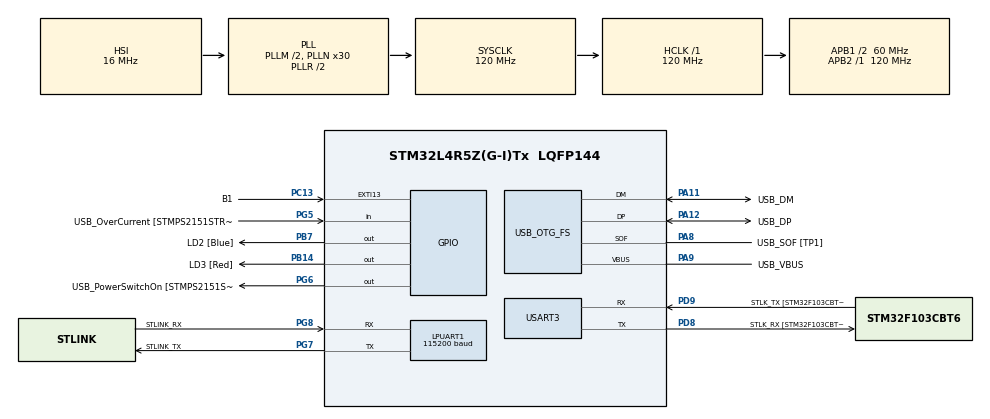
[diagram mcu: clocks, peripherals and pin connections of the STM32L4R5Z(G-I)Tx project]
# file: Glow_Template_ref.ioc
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LPUART1.BaudRate=115200
LPUART1.WordLength=UART_WORDLENGTH_8B
Mcu.Family=STM32L4
Mcu.Name=STM32L4R5Z(G-I)Tx
Mcu.Package=LQFP144
NVIC.PriorityGroup=NVIC_PRIORITYGROUP_4
PA10.GPIO_Label=USB_ID
PA10.Signal=USB_OTG_FS_ID
PA11.GPIO_Label=USB_DM
PA11.Mode=Device_Only
PA11.Signal=USB_OTG_FS_DM
PA12.GPIO_Label=USB_DP
PA12.Mode=Device_Only
PA12.Signal=USB_OTG_FS_DP
PA13\ (JTMS/SWDIO).GPIO_Label=TMS
PA13\ (JTMS/SWDIO).Mode=Trace_Asynchronous_SW
PA13\ (JTMS/SWDIO).Signal=SYS_JTMS-SWDIO
PA14\ (JTCK/SWCLK).GPIO_Label=TCK
PA14\ (JTCK/SWCLK).Mode=Trace_Asynchronous_SW
PA14\ (JTCK/SWCLK).Signal=SYS_JTCK-SWCLK
PA8.GPIO_Label=USB_SOF [TP1]
PA8.Mode=Activate_SOF_FS
PA8.Signal=USB_OTG_FS_SOF
PA9.GPIO_Label=USB_VBUS
PA9.Mode=Activate_VBUS
PA9.Signal=USB_OTG_FS_VBUS
PB14.GPIO_Label=LD3 [Red]
PB14.Signal=GPIO_Output
PB3\ (JTDO/TRACESWO).GPIO_Label=SWO
PB3\ (JTDO/TRACESWO).Mode=Trace_Asynchronous_SW
PB3\ (JTDO/TRACESWO).Signal=SYS_JTDO-SWO
PB7.GPIO_Label=LD2 [Blue]
PB7.Signal=GPIO_Output
PC13.GPIO_Label=B1
PC13.Signal=GPXTI13
PC14-OSC32_IN\ (PC14).Mode=LSE-External-Oscillator
PC14-OSC32_IN\ (PC14).Signal=RCC_OSC32_IN
PC15-OSC32_OUT\ (PC15).Mode=LSE-External-Oscillator
PC15-OSC32_OUT\ (PC15).Signal=RCC_OSC32_OUT
PD8.GPIO_Label=STLK_RX [STM32F103CBT6_PA3]
PD8.Mode=Asynchronous
PD8.Signal=USART3_TX
PD9.GPIO_Label=STLK_TX [STM32F103CBT6_PA2]
PD9.Mode=Asynchronous
PD9.Signal=USART3_RX
PG5.GPIO_Label=USB_OverCurrent [STMPS2151STR_FAULT]
PG5.Signal=GPIO_Input
PG6.GPIO_Label=USB_PowerSwitchOn [STMPS2151STR_EN]
PG6.Signal=GPIO_Output
PG7.GPIO_Label=STLINK_TX
PG7.Mode=Asynchronous
PG7.Signal=LPUART1_TX
PG8.GPIO_Label=STLINK_RX
PG8.Mode=Asynchronous
PG8.Signal=LPUART1_RX
PH0-OSC_IN\ (PH0).Signal=RCC_OSC_IN
PH1-OSC_OUT\ (PH1).Signal=RCC_OSC_OUT
ProjectManager.HeapSize=0x200
ProjectManager.StackSize=0x400
ProjectManager.TargetToolchain=STM32CubeIDE
RCC.48MHZClocksFreq_Value=24000000
RCC.ADCFreq_Value=96000000
RCC.AHBFreq_Value=120000000
RCC.APB1CLKDivider=RCC_HCLK_DIV2
RCC.APB1Freq_Value=60000000
RCC.APB1TimFreq_Value=120000000
RCC.APB2Freq_Value=120000000
RCC.APB2TimFreq_Value=120000000
RCC.CK48CLockSelection=RCC_USBCLKSOURCE_HSI48
RCC.CortexFreq_Value=120000000
RCC.HCLKFreq_Value=120000000
RCC.HSE_VALUE=8000000
RCC.HSI48_VALUE=48000000
RCC.HSI_VALUE=16000000
RCC.MSI_VALUE=4000000
RCC.PLLM1=2
RCC.PLLMUL=RCC_PLL_MUL9
RCC.PLLN=30
RCC.PLLSAI1N=12
RCC.PLLSourceVirtual=RCC_PLLSOURCE_HSI
RCC.PRESCALERUSB=RCC_USBCLKSOURCE_PLL_DIV1_5
RCC.SYSCLKFreq_VALUE=120000000
RCC.SYSCLKSource=RCC_SYSCLKSOURCE_PLLCLK
RCC.SYSCLKSourceVirtual=RCC_SYSCLKSOURCE_PLLCLK
RCC.USBFreq_Value=48000000
RCC.VCOOutputFreq_Value=240000000
USART3.VirtualMode-Asynchronous=VM_ASYNC
USB_OTG_FS.VirtualMode=Device_Only
board=NUCLEO-L4R5ZI

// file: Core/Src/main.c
/* USER CODE BEGIN Header */
/**
  ******************************************************************************
  * @file           : main.c
  * @brief          : Main program body
  ******************************************************************************
  * @attention
  *
  * Copyright (c) 2023 STMicroelectronics.
  * All rights reserved.
  *
  * This software is licensed under terms that can be found in the LICENSE file
  * in the root directory of this software component.
  * If no LICENSE file comes with this software, it is provided AS-IS.
  *
  ******************************************************************************
  */
/* USER CODE END Header */
#include "main.h"
#include <string.h>
#include "model.h"
#include "profiling.h"

/* USER CODE BEGIN PD */
# define NUM_INPUT_BYTES <NUM_INPUT_BYTES>
# define NUM_OUTPUT_BYTES <NUM_OUTPUT_BYTES>
//# define NUM_TEST_TENSORS <NUM_TEST_TENSORS>
# define NUM_REPS <REPETITIONS_PER_INPUT_TENSOR>
// Set to 1 if using custom input tensors
//# define NUM_INPUTS <CUSTOM_INPUTS>
/* USER CODE END PD */

UART_HandleTypeDef hlpuart1;
UART_HandleTypeDef huart3;

PCD_HandleTypeDef hpcd_USB_OTG_FS;

void SystemClock_Config(void);
static void MX_GPIO_Init(void);
static void MX_LPUART1_UART_Init(void);
static void MX_USART3_UART_Init(void);
static void MX_USB_OTG_FS_PCD_Init(void);

/* USER CODE BEGIN 0 */
void glow_instrument_before(int id, int kind, int opInp, int opOut, uint8_t **opAddr, int *opSize){
	PROFILING_EVENT("START");
}
void glow_instrument_after(int id, int kind, int opInp, int opOut, uint8_t **opAddr, int *opSize){
	PROFILING_EVENT("STOP");
}

void transmitFloat(float value, uint8_t decimalDigits) {
    char buffer[40]; // Buffer to hold the string representation of the float

    // Convert the float to a string with the specified number of decimal digits
    snprintf(buffer, sizeof(buffer), "%.*f\r\n", decimalDigits, value);

    // Transmit the string over UART
    HAL_UART_Transmit(&hlpuart1, (uint8_t*)buffer, strlen(buffer), HAL_MAX_DELAY);
    return;
}

GLOW_MEM_ALIGN(MODEL_MEM_ALIGN)
const uint8_t constantWeight[MODEL_CONSTANT_MEM_SIZE] = {
#include "model.weights.txt"
};

GLOW_MEM_ALIGN(MODEL_MEM_ALIGN)
uint8_t mutableWeight[MODEL_MUTABLE_MEM_SIZE];

GLOW_MEM_ALIGN(MODEL_MEM_ALIGN)
uint8_t activations[MODEL_ACTIVATIONS_MEM_SIZE];

const uint8_t end_message[] = "Finished measurements!\r\n";

/* USER CODE END 0 */

int main(void)
{

  /* MCU Configuration--------------------------------------------------------*/

  /* Reset of all peripherals, Initializes the Flash interface and the Systick. */
  HAL_Init();

  /* Configure the system clock */
  SystemClock_Config();

  /* Initialize all configured peripherals */
  MX_GPIO_Init();
  MX_LPUART1_UART_Init();
  MX_USART3_UART_Init();
  MX_USB_OTG_FS_PCD_Init();

  /* Infinite loop */
  /* USER CODE BEGIN WHILE */

  int model_return = 0;
  while (1)
  {

	  ////////////////////////// STATIC MEMORY ALLOCATION  //////////////////////////

	  // get absolute addresses of model input / output tensors
	  uint8_t *inputAddr  = GLOW_GET_ADDR(mutableWeight, <input_name>);
	  uint8_t *outputAddr = GLOW_GET_ADDR(mutableWeight, <output_name>);

          int i;
	  int k;
	  // iterate over input tensors
	  for (i=0; i< 10; i++){
	    for(k=0; k < NUM_REPS; k++){
	      PROFILING_START("MAIN loop timing");
  	      __disable_irq();
  	      PROFILING_EVENT("BEGIN");
              model_return = model(constantWeight, mutableWeight, activations);
	      PROFILING_EVENT("END");
	      __enable_irq();
	      PROFILING_STOP(&hlpuart1);
	    }
	  }

	  HAL_UART_Transmit (&hlpuart1, end_message, sizeof (end_message), HAL_MAX_DELAY);

	  break;
    /* USER CODE END WHILE */

  }
}

void SystemClock_Config(void)
{
  RCC_OscInitTypeDef RCC_OscInitStruct = {0};
  RCC_ClkInitTypeDef RCC_ClkInitStruct = {0};

  /** Configure the main internal regulator output voltage
  */
  if (HAL_PWREx_ControlVoltageScaling(PWR_REGULATOR_VOLTAGE_SCALE1_BOOST) != HAL_OK)
  {
    Error_Handler();
  }

  /** Initializes the RCC Oscillators according to the specified parameters
  * in the RCC_OscInitTypeDef structure.
  */
  RCC_OscInitStruct.OscillatorType = RCC_OSCILLATORTYPE_HSI48|RCC_OSCILLATORTYPE_HSI;
  RCC_OscInitStruct.HSIState = RCC_HSI_ON;
  RCC_OscInitStruct.HSI48State = RCC_HSI48_ON;
  RCC_OscInitStruct.HSICalibrationValue = RCC_HSICALIBRATION_DEFAULT;
  RCC_OscInitStruct.PLL.PLLState = RCC_PLL_ON;
  RCC_OscInitStruct.PLL.PLLSource = RCC_PLLSOURCE_HSI;
  RCC_OscInitStruct.PLL.PLLM = 2;
  RCC_OscInitStruct.PLL.PLLN = 30;
  RCC_OscInitStruct.PLL.PLLP = RCC_PLLP_DIV2;
  RCC_OscInitStruct.PLL.PLLQ = RCC_PLLQ_DIV2;
  RCC_OscInitStruct.PLL.PLLR = RCC_PLLR_DIV2;
  if (HAL_RCC_OscConfig(&RCC_OscInitStruct) != HAL_OK)
  {
    Error_Handler();
  }

  /** Initializes the CPU, AHB and APB buses clocks
  */
  RCC_ClkInitStruct.ClockType = RCC_CLOCKTYPE_HCLK|RCC_CLOCKTYPE_SYSCLK
                              |RCC_CLOCKTYPE_PCLK1|RCC_CLOCKTYPE_PCLK2;
  RCC_ClkInitStruct.SYSCLKSource = RCC_SYSCLKSOURCE_PLLCLK;
  RCC_ClkInitStruct.AHBCLKDivider = RCC_SYSCLK_DIV1;
  RCC_ClkInitStruct.APB1CLKDivider = RCC_HCLK_DIV2;
  RCC_ClkInitStruct.APB2CLKDivider = RCC_HCLK_DIV1;

  if (HAL_RCC_ClockConfig(&RCC_ClkInitStruct, FLASH_LATENCY_5) != HAL_OK)
  {
    Error_Handler();
  }
}

static void MX_LPUART1_UART_Init(void)
{

  hlpuart1.Instance = LPUART1;
  hlpuart1.Init.BaudRate = 115200;
  hlpuart1.Init.WordLength = UART_WORDLENGTH_8B;
  hlpuart1.Init.StopBits = UART_STOPBITS_1;
  hlpuart1.Init.Parity = UART_PARITY_NONE;
  hlpuart1.Init.Mode = UART_MODE_TX_RX;
  hlpuart1.Init.HwFlowCtl = UART_HWCONTROL_NONE;
  hlpuart1.Init.OneBitSampling = UART_ONE_BIT_SAMPLE_DISABLE;
  hlpuart1.Init.ClockPrescaler = UART_PRESCALER_DIV1;
  hlpuart1.AdvancedInit.AdvFeatureInit = UART_ADVFEATURE_NO_INIT;
  hlpuart1.FifoMode = UART_FIFOMODE_DISABLE;
  if (HAL_UART_Init(&hlpuart1) != HAL_OK)
  {
    Error_Handler();
  }
  if (HAL_UARTEx_SetTxFifoThreshold(&hlpuart1, UART_TXFIFO_THRESHOLD_1_8) != HAL_OK)
  {
    Error_Handler();
  }
  if (HAL_UARTEx_SetRxFifoThreshold(&hlpuart1, UART_RXFIFO_THRESHOLD_1_8) != HAL_OK)
  {
    Error_Handler();
  }
  if (HAL_UARTEx_DisableFifoMode(&hlpuart1) != HAL_OK)
  {
    Error_Handler();
  }

}

static void MX_USART3_UART_Init(void)
{

  huart3.Instance = USART3;
  huart3.Init.BaudRate = 115200;
  huart3.Init.WordLength = UART_WORDLENGTH_8B;
  huart3.Init.StopBits = UART_STOPBITS_1;
  huart3.Init.Parity = UART_PARITY_NONE;
  huart3.Init.Mode = UART_MODE_TX_RX;
  huart3.Init.HwFlowCtl = UART_HWCONTROL_NONE;
  huart3.Init.OverSampling = UART_OVERSAMPLING_16;
  huart3.Init.OneBitSampling = UART_ONE_BIT_SAMPLE_DISABLE;
  huart3.Init.ClockPrescaler = UART_PRESCALER_DIV1;
  huart3.AdvancedInit.AdvFeatureInit = UART_ADVFEATURE_NO_INIT;
  if (HAL_UART_Init(&huart3) != HAL_OK)
  {
    Error_Handler();
  }
  if (HAL_UARTEx_SetTxFifoThreshold(&huart3, UART_TXFIFO_THRESHOLD_1_8) != HAL_OK)
  {
    Error_Handler();
  }
  if (HAL_UARTEx_SetRxFifoThreshold(&huart3, UART_RXFIFO_THRESHOLD_1_8) != HAL_OK)
  {
    Error_Handler();
  }
  if (HAL_UARTEx_DisableFifoMode(&huart3) != HAL_OK)
  {
    Error_Handler();
  }

}

static void MX_USB_OTG_FS_PCD_Init(void)
{

  hpcd_USB_OTG_FS.Instance = USB_OTG_FS;
  hpcd_USB_OTG_FS.Init.dev_endpoints = 6;
  hpcd_USB_OTG_FS.Init.phy_itface = PCD_PHY_EMBEDDED;
  hpcd_USB_OTG_FS.Init.Sof_enable = ENABLE;
  hpcd_USB_OTG_FS.Init.low_power_enable = DISABLE;
  hpcd_USB_OTG_FS.Init.lpm_enable = DISABLE;
  hpcd_USB_OTG_FS.Init.battery_charging_enable = ENABLE;
  hpcd_USB_OTG_FS.Init.use_dedicated_ep1 = DISABLE;
  hpcd_USB_OTG_FS.Init.vbus_sensing_enable = ENABLE;
  if (HAL_PCD_Init(&hpcd_USB_OTG_FS) != HAL_OK)
  {
    Error_Handler();
  }

}

static void MX_GPIO_Init(void)
{
  GPIO_InitTypeDef GPIO_InitStruct = {0};

  /* GPIO Ports Clock Enable */
  __HAL_RCC_GPIOC_CLK_ENABLE();
  __HAL_RCC_GPIOH_CLK_ENABLE();
  __HAL_RCC_GPIOB_CLK_ENABLE();
  __HAL_RCC_GPIOD_CLK_ENABLE();
  __HAL_RCC_GPIOG_CLK_ENABLE();
  HAL_PWREx_EnableVddIO2();
  __HAL_RCC_GPIOA_CLK_ENABLE();

  /*Configure GPIO pin Output Level */
  HAL_GPIO_WritePin(GPIOB, LD3_Pin|LD2_Pin, GPIO_PIN_RESET);

  /*Configure GPIO pin Output Level */
  HAL_GPIO_WritePin(USB_PowerSwitchOn_GPIO_Port, USB_PowerSwitchOn_Pin, GPIO_PIN_RESET);

  /*Configure GPIO pin : B1_Pin */
  GPIO_InitStruct.Pin = B1_Pin;
  GPIO_InitStruct.Mode = GPIO_MODE_IT_RISING;
  GPIO_InitStruct.Pull = GPIO_NOPULL;
  HAL_GPIO_Init(B1_GPIO_Port, &GPIO_InitStruct);

  /*Configure GPIO pins : LD3_Pin LD2_Pin */
  GPIO_InitStruct.Pin = LD3_Pin|LD2_Pin;
  GPIO_InitStruct.Mode = GPIO_MODE_OUTPUT_PP;
  GPIO_InitStruct.Pull = GPIO_NOPULL;
  GPIO_InitStruct.Speed = GPIO_SPEED_FREQ_LOW;
  HAL_GPIO_Init(GPIOB, &GPIO_InitStruct);

  /*Configure GPIO pin : USB_OverCurrent_Pin */
  GPIO_InitStruct.Pin = USB_OverCurrent_Pin;
  GPIO_InitStruct.Mode = GPIO_MODE_INPUT;
  GPIO_InitStruct.Pull = GPIO_NOPULL;
  HAL_GPIO_Init(USB_OverCurrent_GPIO_Port, &GPIO_InitStruct);

  /*Configure GPIO pin : USB_PowerSwitchOn_Pin */
  GPIO_InitStruct.Pin = USB_PowerSwitchOn_Pin;
  GPIO_InitStruct.Mode = GPIO_MODE_OUTPUT_PP;
  GPIO_InitStruct.Pull = GPIO_NOPULL;
  GPIO_InitStruct.Speed = GPIO_SPEED_FREQ_LOW;
  HAL_GPIO_Init(USB_PowerSwitchOn_GPIO_Port, &GPIO_InitStruct);

}

void Error_Handler(void)
{
  __disable_irq();
  while (1)
  {
  }
}
